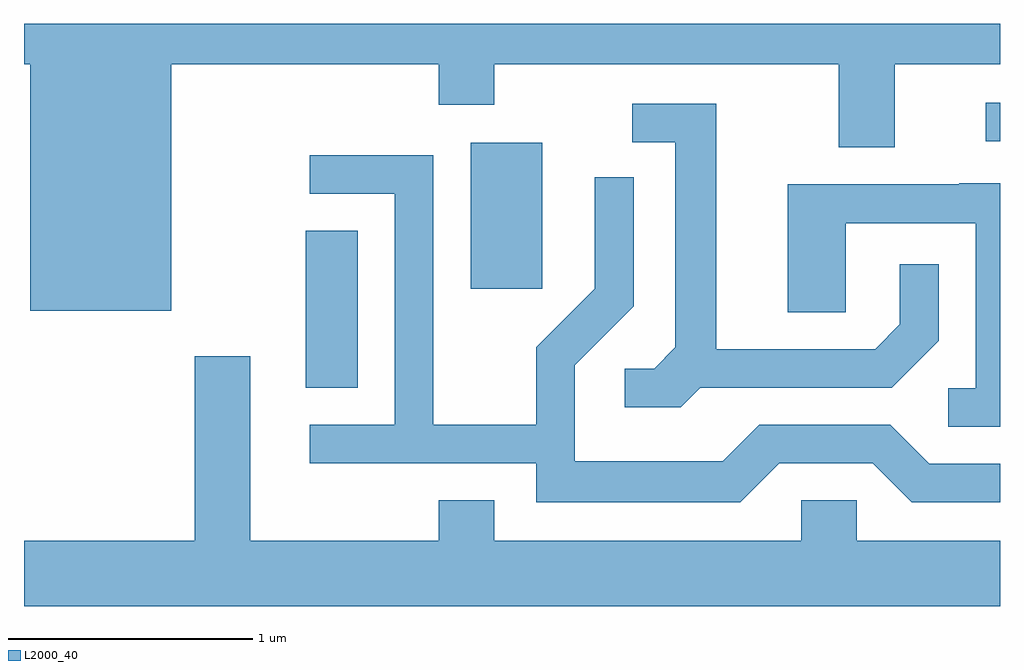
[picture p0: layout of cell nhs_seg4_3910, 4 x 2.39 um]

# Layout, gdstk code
import gdstk
lib = gdstk.Library(unit=1e-6, precision=1e-09)
def R(c, l, rs):  # rectangles x0, y0, x1, y1
    for r in rs: c.add(gdstk.rectangle(r[:2], r[2:], *l))
def P(c, l, *ps):  # polygons
    for p in ps: c.add(gdstk.Polygon(p, *l))
L2000_40 = (2000, 40)

nhs_seg4_3910 = lib.new_cell('nhs_seg4_3910')
R(nhs_seg4_3910, L2000_40, [(300.766,1324.491,300.979,1325.134), (301.441,1324.896,301.734,1325.494), (303.553,1325.501,303.611,1325.659)])
P(nhs_seg4_3910, L2000_40, [(300.214,1325.816),(301.311,1325.816),(301.311,1325.651),(301.539,1325.651),(301.539,1325.816),(302.951,1325.816),(302.951,1325.476),(303.179,1325.476),(303.179,1325.816),(303.611,1325.816),(303.611,1325.982),(299.611,1325.982),(299.611,1325.816),(299.636,1325.816),(299.636,1324.806),(300.214,1324.806)],
  [(302.382,1324.491),(303.167,1324.491),(303.359,1324.684),(303.359,1324.998),(303.201,1324.998),(303.201,1324.752),(303.099,1324.649),(302.449,1324.649),(302.449,1325.654),(302.103,1325.654),(302.103,1325.496),(302.281,1325.496),(302.281,1324.657),(302.194,1324.569),(302.073,1324.569),(302.073,1324.411),(302.302,1324.411)],
  [(302.707,1324.181),(303.089,1324.181),(303.249,1324.021),(303.611,1324.021),(303.611,1324.179),(303.322,1324.179),(303.162,1324.339),(302.624,1324.339),(302.474,1324.189),(301.869,1324.189),(301.869,1324.584),(302.109,1324.824),(302.109,1325.353),(301.951,1325.353),(301.951,1324.897),(301.711,1324.657),(301.711,1324.339),(301.289,1324.339),(301.289,1325.444),(300.783,1325.444),(300.783,1325.286),(301.131,1325.286),(301.131,1324.339),(300.783,1324.339),(300.783,1324.181),(301.711,1324.181),(301.711,1324.021),(302.547,1324.021)],
  [(303.611,1325.329),(303.445,1325.329),(303.445,1325.324),(302.741,1325.324),(302.741,1324.801),(302.979,1324.801),(302.979,1325.166),(303.511,1325.166),(303.511,1324.489),(303.398,1324.489),(303.398,1324.331),(303.611,1324.331)],
  [(303.611,1323.864),(303.024,1323.864),(303.024,1324.029),(302.796,1324.029),(302.796,1323.864),(301.539,1323.864),(301.539,1324.029),(301.311,1324.029),(301.311,1323.864),(300.539,1323.864),(300.539,1324.619),(300.311,1324.619),(300.311,1323.864),(299.611,1323.864),(299.611,1323.596),(303.611,1323.596)])

lib.write_gds('nhs_seg4_3910.gds')
